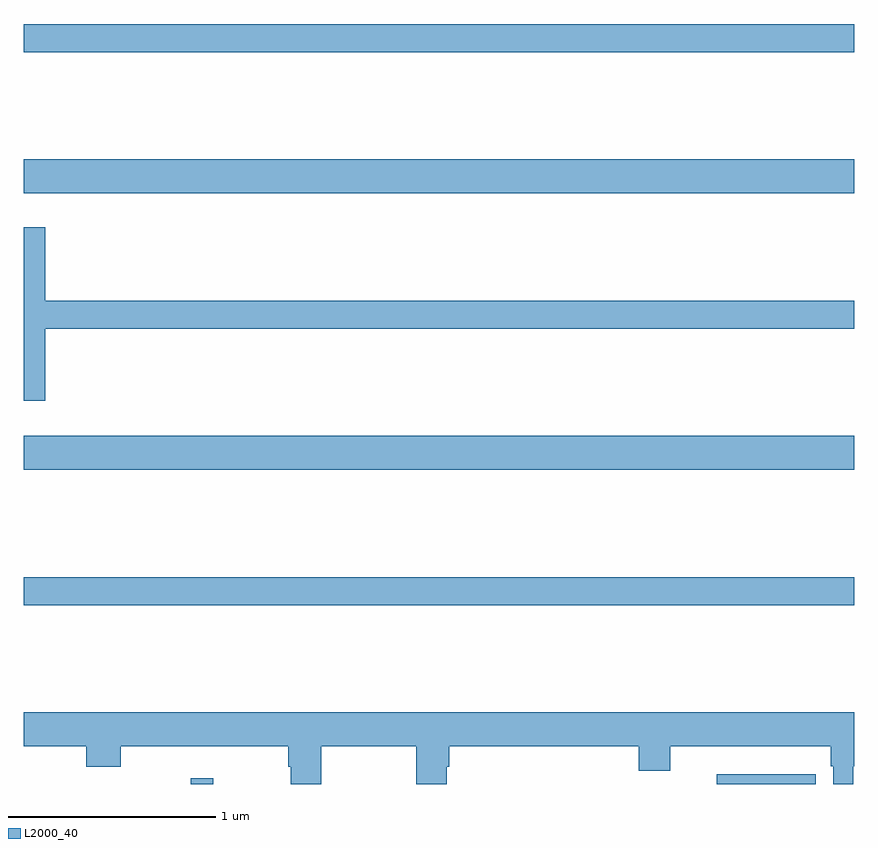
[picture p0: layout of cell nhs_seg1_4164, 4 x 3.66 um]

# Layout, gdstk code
import gdstk
lib = gdstk.Library(unit=1e-6, precision=1e-09)
def R(c, l, rs):  # rectangles x0, y0, x1, y1
    for r in rs: c.add(gdstk.rectangle(r[:2], r[2:], *l))
def P(c, l, *ps):  # polygons
    for p in ps: c.add(gdstk.Polygon(p, *l))
L2000_40 = (2000, 40)

nhs_seg1_4164 = lib.new_cell('nhs_seg1_4164')
R(nhs_seg1_4164, L2000_40, [(337.803,570.199,337.912,570.226), (337,571.06,341,571.196), (337,571.712,341,571.876), (337,573.044,341,573.208), (337,573.724,341,573.86)])
P(nhs_seg1_4164, L2000_40, [(337.103,572.392),(341,572.392),(341,572.528),(337.103,572.528),(337.103,572.881),(337,572.881),(337,572.046),(337.103,572.046)],
  [(338.433,570.38),(338.89,570.38),(338.89,570.199),(339.037,570.199),(339.037,570.282),(339.05,570.282),(339.05,570.38),(339.962,570.38),(339.962,570.263),(340.114,570.263),(340.114,570.38),(340.886,570.38),(340.886,570.284),(340.899,570.284),(340.899,570.199),(340.996,570.199),(340.996,570.284),(341,570.284),(341,570.544),(337,570.544),(337,570.38),(337.301,570.38),(337.301,570.281),(337.466,570.281),(337.466,570.38),(338.273,570.38),(338.273,570.282),(338.285,570.282),(338.285,570.199),(338.433,570.199)],
  [(340.814,570.246),(340.706,570.246),(340.706,570.247),(340.338,570.247),(340.338,570.199),(340.814,570.199)])

lib.write_gds('nhs_seg1_4164.gds')
